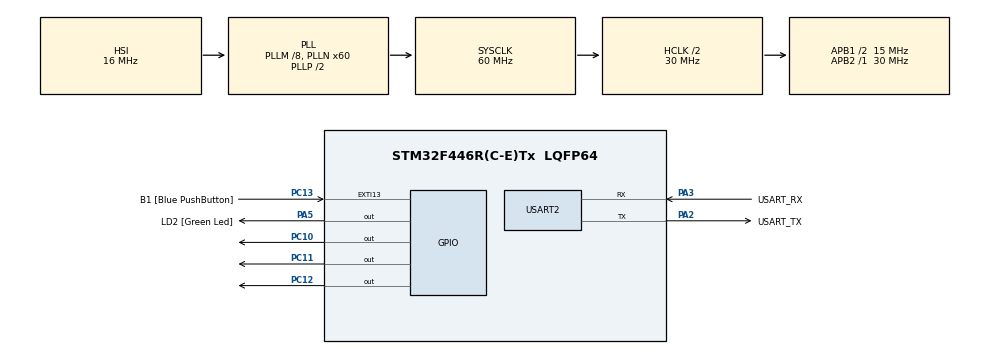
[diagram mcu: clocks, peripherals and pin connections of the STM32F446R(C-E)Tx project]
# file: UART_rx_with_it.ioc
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Mcu.Family=STM32F4
Mcu.Name=STM32F446R(C-E)Tx
Mcu.Package=LQFP64
NVIC.PriorityGroup=NVIC_PRIORITYGROUP_0
NVIC.USART2_IRQn=true\:0\:0\:false\:false\:true\:true
PA13.GPIO_Label=TMS
PA13.Signal=SYS_JTMS-SWDIO
PA14.GPIO_Label=TCK
PA14.Signal=SYS_JTCK-SWCLK
PA2.GPIO_Label=USART_TX
PA2.Mode=Asynchronous
PA2.Signal=USART2_TX
PA3.GPIO_Label=USART_RX
PA3.Mode=Asynchronous
PA3.Signal=USART2_RX
PA5.GPIO_Label=LD2 [Green Led]
PA5.Signal=GPIO_Output
PB3.GPIO_Label=SWO
PB3.Signal=SYS_JTDO-SWO
PC10.Signal=GPIO_Output
PC11.Signal=GPIO_Output
PC12.Signal=GPIO_Output
PC13.GPIO_Label=B1 [Blue PushButton]
PC13.GPIO_ModeDefaultEXTI=GPIO_MODE_IT_FALLING
PC13.Signal=GPXTI13
PC14-OSC32_IN.Signal=RCC_OSC32_IN
PC15-OSC32_OUT.Signal=RCC_OSC32_OUT
PH0-OSC_IN.Signal=RCC_OSC_IN
PH1-OSC_OUT.Signal=RCC_OSC_OUT
ProjectManager.HeapSize=0x200
ProjectManager.StackSize=0x400
ProjectManager.TargetToolchain=MDK-ARM V5
RCC.AHBCLKDivider=RCC_SYSCLK_DIV2
RCC.AHBFreq_Value=30000000
RCC.APB1CLKDivider=RCC_HCLK_DIV2
RCC.APB1Freq_Value=15000000
RCC.APB1TimFreq_Value=30000000
RCC.APB2Freq_Value=30000000
RCC.APB2TimFreq_Value=30000000
RCC.CortexFreq_Value=30000000
RCC.FLatency-AdvancedSettings=FLASH_LATENCY_0
RCC.HCLKFreq_Value=30000000
RCC.HSE_VALUE=8000000
RCC.HSI_VALUE=16000000
RCC.LSE_VALUE=32768
RCC.PLLM=8
RCC.PLLN=60
RCC.SYSCLKFreq_VALUE=60000000
RCC.SYSCLKSource=RCC_SYSCLKSOURCE_PLLCLK
RCC.USBFreq_Value=60000000
RCC.VCOOutputFreq_Value=120000000
USART2.VirtualMode=VM_ASYNC
board=NUCLEO-F446RE

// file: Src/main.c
/**
  ******************************************************************************
  * File Name          : main.c
  * Description        : Main program body
  ******************************************************************************
  ** This notice applies to any and all portions of this file
  * that are not between comment pairs USER CODE BEGIN and
  * USER CODE END. Other portions of this file, whether
  * inserted by the user or by software development tools
  * are owned by their respective copyright owners.
  *
  * COPYRIGHT(c) 2017 STMicroelectronics
  *
  * Redistribution and use in source and binary forms, with or without modification,
  * are permitted provided that the following conditions are met:
  *   1. Redistributions of source code must retain the above copyright notice,
  *      this list of conditions and the following disclaimer.
  *   2. Redistributions in binary form must reproduce the above copyright notice,
  *      this list of conditions and the following disclaimer in the documentation
  *      and/or other materials provided with the distribution.
  *   3. Neither the name of STMicroelectronics nor the names of its contributors
  *      may be used to endorse or promote products derived from this software
  *      without specific prior written permission.
  *
  * THIS SOFTWARE IS PROVIDED BY THE COPYRIGHT HOLDERS AND CONTRIBUTORS "AS IS"
  * AND ANY EXPRESS OR IMPLIED WARRANTIES, INCLUDING, BUT NOT LIMITED TO, THE
  * IMPLIED WARRANTIES OF MERCHANTABILITY AND FITNESS FOR A PARTICULAR PURPOSE ARE
  * DISCLAIMED. IN NO EVENT SHALL THE COPYRIGHT HOLDER OR CONTRIBUTORS BE LIABLE
  * FOR ANY DIRECT, INDIRECT, INCIDENTAL, SPECIAL, EXEMPLARY, OR CONSEQUENTIAL
  * DAMAGES (INCLUDING, BUT NOT LIMITED TO, PROCUREMENT OF SUBSTITUTE GOODS OR
  * SERVICES; LOSS OF USE, DATA, OR PROFITS; OR BUSINESS INTERRUPTION) HOWEVER
  * CAUSED AND ON ANY THEORY OF LIABILITY, WHETHER IN CONTRACT, STRICT LIABILITY,
  * OR TORT (INCLUDING NEGLIGENCE OR OTHERWISE) ARISING IN ANY WAY OUT OF THE USE
  * OF THIS SOFTWARE, EVEN IF ADVISED OF THE POSSIBILITY OF SUCH DAMAGE.
  *
  ******************************************************************************
  */

#include "main.h"
#include "stm32f4xx_hal.h"

UART_HandleTypeDef huart2;

/* USER CODE BEGIN PV */
/* Private variables ---------------------------------------------------------*/

/* USER CODE END PV */

void SystemClock_Config(void);
static void MX_GPIO_Init(void);
static void MX_USART2_UART_Init(void);

/* USER CODE BEGIN PFP */
/* Private function prototypes -----------------------------------------------*/

/* USER CODE END PFP */

/* USER CODE BEGIN 0 */

uint8_t src_data[50];
#define OFF_SET  0X500
#define DEST_ADDRESS  (volatile uint8_t*)(SRAM1_BASE + OFF_SET)

/* USER CODE END 0 */

int main(void)
{

  /* USER CODE BEGIN 1 */
	uint32_t offset=0;
	uint32_t i=0;

  /* USER CODE END 1 */

  /* MCU Configuration----------------------------------------------------------*/

  /* Reset of all peripherals, Initializes the Flash interface and the Systick. */
  HAL_Init();

  /* Configure the system clock */
 // SystemClock_Config();

__HAL_RCC_GPIOA_CLK_ENABLE();
  /* Initialize all configured peripherals */
 // MX_GPIO_Init();
  MX_USART2_UART_Init();

  /* USER CODE BEGIN 2 */

	for( uint32_t i = 0 ; i < 50 ; i++)
	{
		src_data[i] = 0xAA;
	}

  /* USER CODE END 2 */

  /* Infinite loop */
  /* USER CODE BEGIN WHILE */
	HAL_UART_Receive_IT(&huart2,(uint8_t*)SRAM2_BASE,250);
  while (1)
  {
  /* USER CODE END WHILE */

  /* USER CODE BEGIN 3 */

	HAL_GPIO_WritePin(GPIOC,GPIO_PIN_10,GPIO_PIN_SET);

	for( i = 0 ; i < 50 ; i++)
	{
		*(DEST_ADDRESS+i) = src_data[i];

	}
	HAL_GPIO_WritePin(GPIOC,GPIO_PIN_10,GPIO_PIN_RESET);

  }
  /* USER CODE END 3 */

}

/** System Clock Configuration
*/
void SystemClock_Config(void)
{

  RCC_OscInitTypeDef RCC_OscInitStruct;
  RCC_ClkInitTypeDef RCC_ClkInitStruct;

    /**Configure the main internal regulator output voltage
    */
  __HAL_RCC_PWR_CLK_ENABLE();

  __HAL_PWR_VOLTAGESCALING_CONFIG(PWR_REGULATOR_VOLTAGE_SCALE3);

    /**Initializes the CPU, AHB and APB busses clocks
    */
  RCC_OscInitStruct.OscillatorType = RCC_OSCILLATORTYPE_HSI;
  RCC_OscInitStruct.HSIState = RCC_HSI_ON;
  RCC_OscInitStruct.HSICalibrationValue = 16;
  RCC_OscInitStruct.PLL.PLLState = RCC_PLL_ON;
  RCC_OscInitStruct.PLL.PLLSource = RCC_PLLSOURCE_HSI;
  RCC_OscInitStruct.PLL.PLLM = 8;
  RCC_OscInitStruct.PLL.PLLN = 60;
  RCC_OscInitStruct.PLL.PLLP = RCC_PLLP_DIV2;
  RCC_OscInitStruct.PLL.PLLQ = 2;
  RCC_OscInitStruct.PLL.PLLR = 2;
  if (HAL_RCC_OscConfig(&RCC_OscInitStruct) != HAL_OK)
  {
    _Error_Handler(__FILE__, __LINE__);
  }

    /**Initializes the CPU, AHB and APB busses clocks
    */
  RCC_ClkInitStruct.ClockType = RCC_CLOCKTYPE_HCLK|RCC_CLOCKTYPE_SYSCLK
                              |RCC_CLOCKTYPE_PCLK1|RCC_CLOCKTYPE_PCLK2;
  RCC_ClkInitStruct.SYSCLKSource = RCC_SYSCLKSOURCE_PLLCLK;
  RCC_ClkInitStruct.AHBCLKDivider = RCC_SYSCLK_DIV2;
  RCC_ClkInitStruct.APB1CLKDivider = RCC_HCLK_DIV2;
  RCC_ClkInitStruct.APB2CLKDivider = RCC_HCLK_DIV1;

  if (HAL_RCC_ClockConfig(&RCC_ClkInitStruct, FLASH_LATENCY_0) != HAL_OK)
  {
    _Error_Handler(__FILE__, __LINE__);
  }

    /**Configure the Systick interrupt time
    */
  HAL_SYSTICK_Config(HAL_RCC_GetHCLKFreq()/1000);

    /**Configure the Systick
    */
  HAL_SYSTICK_CLKSourceConfig(SYSTICK_CLKSOURCE_HCLK);

  /* SysTick_IRQn interrupt configuration */
  HAL_NVIC_SetPriority(SysTick_IRQn, 0, 0);
}

/* USART2 init function */
static void MX_USART2_UART_Init(void)
{

  huart2.Instance = USART2;
  huart2.Init.BaudRate = 115200;
  huart2.Init.WordLength = UART_WORDLENGTH_8B;
  huart2.Init.StopBits = UART_STOPBITS_1;
  huart2.Init.Parity = UART_PARITY_NONE;
  huart2.Init.Mode = UART_MODE_TX_RX;
  huart2.Init.HwFlowCtl = UART_HWCONTROL_NONE;
  //huart2.Init.OverSampling = UART_OVERSAMPLING_16;
  if (HAL_UART_Init(&huart2) != HAL_OK)
  {
    _Error_Handler(__FILE__, __LINE__);
  }

}

/** Configure pins as
        * Analog
        * Input
        * Output
        * EVENT_OUT
        * EXTI
*/
static void MX_GPIO_Init(void)
{

  GPIO_InitTypeDef GPIO_InitStruct;

  /* GPIO Ports Clock Enable */
  __HAL_RCC_GPIOC_CLK_ENABLE();
  __HAL_RCC_GPIOH_CLK_ENABLE();
  __HAL_RCC_GPIOA_CLK_ENABLE();
  __HAL_RCC_GPIOB_CLK_ENABLE();

  /*Configure GPIO pin Output Level */
  HAL_GPIO_WritePin(LD2_GPIO_Port, LD2_Pin, GPIO_PIN_RESET);

  /*Configure GPIO pin Output Level */
  HAL_GPIO_WritePin(GPIOC, GPIO_PIN_10|GPIO_PIN_11|GPIO_PIN_12, GPIO_PIN_RESET);

  /*Configure GPIO pin : B1_Pin */
  GPIO_InitStruct.Pin = B1_Pin;
  GPIO_InitStruct.Mode = GPIO_MODE_IT_FALLING;
  GPIO_InitStruct.Pull = GPIO_NOPULL;
  HAL_GPIO_Init(B1_GPIO_Port, &GPIO_InitStruct);

  /*Configure GPIO pin : LD2_Pin */
  GPIO_InitStruct.Pin = LD2_Pin;
  GPIO_InitStruct.Mode = GPIO_MODE_OUTPUT_PP;
  GPIO_InitStruct.Pull = GPIO_NOPULL;
  GPIO_InitStruct.Speed = GPIO_SPEED_FREQ_LOW;
  HAL_GPIO_Init(LD2_GPIO_Port, &GPIO_InitStruct);

  /*Configure GPIO pins : PC10 PC11 PC12 */
  GPIO_InitStruct.Pin = GPIO_PIN_10|GPIO_PIN_11|GPIO_PIN_12;
  GPIO_InitStruct.Mode = GPIO_MODE_OUTPUT_PP;
  GPIO_InitStruct.Pull = GPIO_NOPULL;
  GPIO_InitStruct.Speed = GPIO_SPEED_FREQ_LOW;
  HAL_GPIO_Init(GPIOC, &GPIO_InitStruct);

}

/* USER CODE BEGIN 4 */

void HAL_UART_RxCpltCallback(UART_HandleTypeDef *huart)
{
	HAL_GPIO_WritePin(GPIOC,GPIO_PIN_11,GPIO_PIN_SET);
	HAL_GPIO_WritePin(GPIOC,GPIO_PIN_11,GPIO_PIN_RESET);
	//HAL_UART_Receive_IT(&huart2,(uint8_t*)(SRAM1_BASE + OFF_SET),250);
	HAL_UART_Receive_IT(&huart2,(uint8_t*)(SRAM2_BASE),250);

}

/* USER CODE END 4 */

void _Error_Handler(char * file, int line)
{
  while(1)
  {
  }
}

/************************ (C) COPYRIGHT STMicroelectronics *****END OF FILE****/
